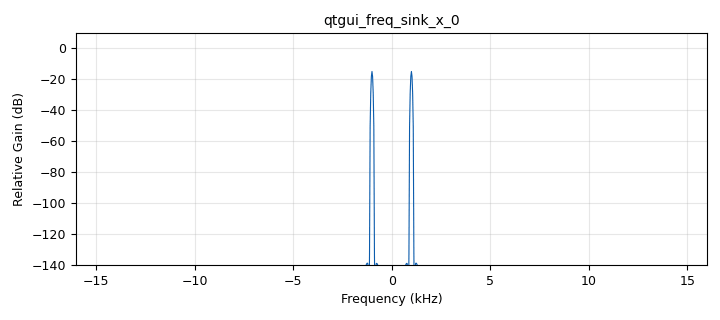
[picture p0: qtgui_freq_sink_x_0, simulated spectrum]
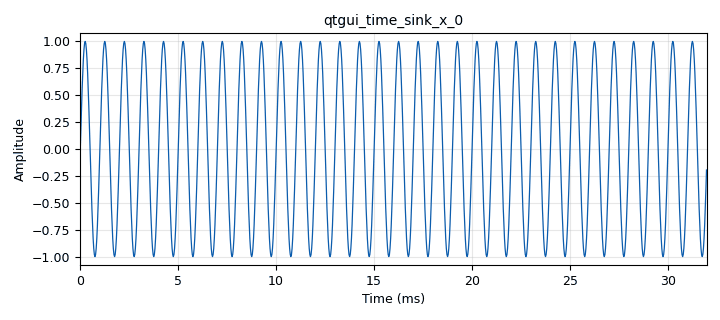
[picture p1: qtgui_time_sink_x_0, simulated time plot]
options:
  parameters:
    author: Jeison_Carlos
    copyright: UIS
    generate_options: qt_gui
    id: LAB3_PARTE2
    output_language: python
    title: PARTE2
  states: {}

blocks:
- name: samp_rate
  id: variable
  parameters:
    value: '32000'
  states: {}
- name: variable_f
  id: variable_qtgui_range
  parameters:
    orient: Qt.Horizontal
    start: '1'
    step: '1'
    stop: '100'
    value: '1'
  states: {}
- name: LAB3_PARTE1_0
  id: LAB3_PARTE1
  parameters:
    l_vect: '1024'
  states: {}
- name: analog_sig_source_x_0
  id: analog_sig_source_x
  parameters:
    amp: variable_f
    freq: '1000'
    offset: '0'
    phase: '0'
    samp_rate: samp_rate
    type: float
    waveform: analog.GR_SIN_WAVE
  states: {}
- name: qtgui_freq_sink_x_0
  id: qtgui_freq_sink_x
  parameters:
    bw: samp_rate
    fc: '0'
    fftsize: '1024'
    type: float
    wintype: firdes.WIN_BLACKMAN_hARRIS
  states: {}
- name: qtgui_time_sink_x_0
  id: qtgui_time_sink_x
  parameters:
    size: '1024'
    srate: samp_rate
    type: float
  states: {}

connections:
- [analog_sig_source_x_0, '0', LAB3_PARTE1_0, '0']
- [analog_sig_source_x_0, '0', qtgui_freq_sink_x_0, '0']
- [analog_sig_source_x_0, '0', qtgui_time_sink_x_0, '0']

metadata:
  file_format: 1
